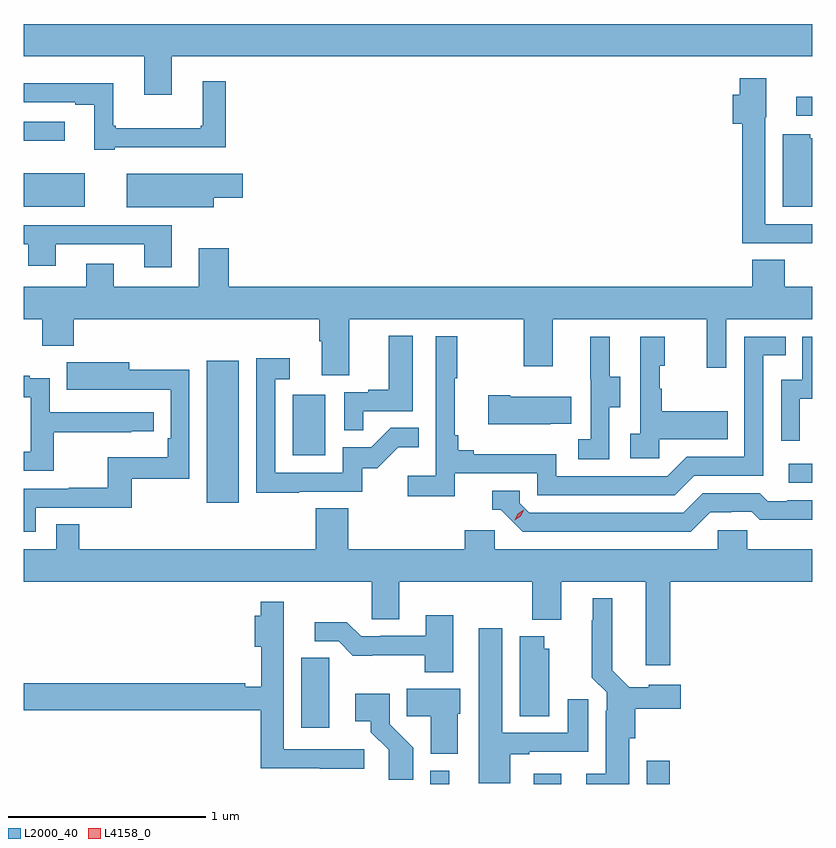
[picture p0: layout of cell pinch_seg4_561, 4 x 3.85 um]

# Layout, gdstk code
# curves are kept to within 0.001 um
import gdstk
lib = gdstk.Library(unit=1e-6, precision=1e-09)
def R(c, l, rs):  # rectangles x0, y0, x1, y1
    for r in rs: c.add(gdstk.rectangle(r[:2], r[2:], *l))
def P(c, l, *ps):  # polygons
    for p in ps: c.add(gdstk.Polygon(p, *l))
L2000_40 = (2000, 40)
L4158_0 = (4158, 0)

pinch_seg4_561 = lib.new_cell('pinch_seg4_561')
R(pinch_seg4_561, L2000_40, [(1108.407,782.474,1108.504,782.542), (1108.931,782.474,1109.071,782.527), (1109.505,782.474,1109.621,782.593), (1107.275,783.9,1107.436,784.621), (1110.225,784.002,1110.345,784.098), (1107.71,784.14,1107.874,784.447), (1106.345,785.402,1106.656,785.572), (1106.345,785.735,1106.554,785.832), (1110.264,785.862,1110.345,785.959)])
P(pinch_seg4_561, L2000_40, [(1107.097,786.164),(1110.345,786.164),(1110.345,786.328),(1106.345,786.328),(1106.345,786.164),(1106.957,786.164),(1106.957,785.97),(1107.097,785.97)],
  [(1110.345,785.313),(1110.105,785.313),(1110.105,785.856),(1110.112,785.856),(1110.112,786.052),(1109.976,786.052),(1109.976,785.97),(1109.942,785.97),(1109.942,785.822),(1109.989,785.822),(1109.989,785.217),(1110.289,785.217),(1110.289,785.215),(1110.345,785.215)],
  [(1106.806,785.702),(1107.371,785.702),(1107.371,786.037),(1107.254,786.037),(1107.254,785.812),(1107.243,785.812),(1107.243,785.8),(1106.812,785.8),(1106.812,785.812),(1106.8,785.812),(1106.8,786.028),(1106.345,786.028),(1106.345,785.931),(1106.606,785.931),(1106.606,785.919),(1106.702,785.919),(1106.702,785.691),(1106.806,785.691)],
  [(1110.345,785.748),(1110.333,785.748),(1110.333,785.769),(1110.194,785.769),(1110.194,785.4),(1110.345,785.4)],
  [(1107.31,785.447),(1107.457,785.447),(1107.457,785.569),(1106.867,785.569),(1106.867,785.399),(1107.31,785.399)],
  [(1107.097,785.307),(1106.345,785.307),(1106.345,785.211),(1106.369,785.211),(1106.369,785.102),(1106.509,785.102),(1106.509,785.211),(1106.957,785.211),(1106.957,785.094),(1107.097,785.094)],
  [(1107.997,784.832),(1108.882,784.832),(1108.882,784.593),(1109.029,784.593),(1109.029,784.832),(1109.81,784.832),(1109.81,784.584),(1109.907,784.584),(1109.907,784.832),(1110.345,784.832),(1110.345,784.996),(1110.206,784.996),(1110.206,785.132),(1110.041,785.132),(1110.041,784.996),(1107.386,784.996),(1107.386,785.191),(1107.233,785.191),(1107.233,784.996),(1106.803,784.996),(1106.803,785.113),(1106.663,785.113),(1106.663,784.996),(1106.345,784.996),(1106.345,784.832),(1106.44,784.832),(1106.44,784.697),(1106.6,784.697),(1106.6,784.832),(1107.845,784.832),(1107.845,784.72),(1107.857,784.72),(1107.857,784.546),(1107.997,784.546)],
  [(1108.067,784.365),(1108.318,784.365),(1108.318,784.747),(1108.196,784.747),(1108.196,784.474),(1108.093,784.474),(1108.093,784.461),(1107.972,784.461),(1107.972,784.267),(1108.067,784.267)],
  [(1108.532,784.05),(1108.95,784.05),(1108.95,783.939),(1109.647,783.939),(1109.746,784.038),(1110.096,784.038),(1110.096,784.647),(1110.209,784.647),(1110.209,784.743),(1110,784.743),(1110,784.134),(1109.709,784.134),(1109.61,784.035),(1109.046,784.035),(1109.046,784.147),(1108.627,784.147),(1108.627,784.166),(1108.55,784.166),(1108.55,784.243),(1108.531,784.243),(1108.531,784.531),(1108.543,784.531),(1108.543,784.744),(1108.434,784.744),(1108.434,784.036),(1108.293,784.036),(1108.293,783.934),(1108.532,783.934)],
  [(1110.282,784.427),(1110.345,784.427),(1110.345,784.743),(1110.294,784.743),(1110.294,784.524),(1110.186,784.524),(1110.186,784.215),(1110.282,784.215)],
  [(1109.316,784.384),(1109.371,784.384),(1109.371,784.539),(1109.317,784.539),(1109.317,784.741),(1109.219,784.741),(1109.219,784.527),(1109.22,784.527),(1109.22,784.223),(1109.157,784.223),(1109.157,784.12),(1109.316,784.12)],
  [(1109.568,784.223),(1109.915,784.223),(1109.915,784.363),(1109.581,784.363),(1109.581,784.478),(1109.571,784.478),(1109.571,784.596),(1109.596,784.596),(1109.596,784.741),(1109.472,784.741),(1109.472,784.25),(1109.421,784.25),(1109.421,784.125),(1109.568,784.125)],
  [(1107.743,783.957),(1108.062,783.957),(1108.062,784.074),(1108.138,784.074),(1108.245,784.181),(1108.349,784.181),(1108.349,784.28),(1108.206,784.28),(1108.108,784.182),(1107.963,784.182),(1107.963,784.053),(1107.621,784.053),(1107.621,784.527),(1107.694,784.527),(1107.694,784.633),(1107.525,784.633),(1107.525,783.952),(1107.743,783.952)],
  [(1106.406,783.876),(1106.893,783.876),(1106.893,784.023),(1107.186,784.023),(1107.186,784.574),(1106.881,784.574),(1106.881,784.612),(1106.563,784.612),(1106.563,784.472),(1106.777,784.472),(1106.777,784.473),(1107.09,784.473),(1107.09,784.228),(1107.077,784.228),(1107.077,784.132),(1106.772,784.132),(1106.772,783.977),(1106.575,783.977),(1106.575,783.972),(1106.345,783.972),(1106.345,783.753),(1106.406,783.753)],
  [(1106.498,784.258),(1106.891,784.258),(1106.891,784.263),(1107.004,784.263),(1107.004,784.359),(1106.478,784.359),(1106.478,784.531),(1106.375,784.531),(1106.375,784.543),(1106.345,784.543),(1106.345,784.434),(1106.382,784.434),(1106.382,784.158),(1106.345,784.158),(1106.345,784.062),(1106.498,784.062)],
  [(1109.015,784.301),(1109.123,784.301),(1109.123,784.438),(1108.813,784.438),(1108.813,784.446),(1108.701,784.446),(1108.701,784.298),(1109.015,784.298)],
  [(1109.827,783.852),(1109.934,783.852),(1109.934,783.855),(1110.037,783.855),(1110.079,783.813),(1110.312,783.813),(1110.312,783.815),(1110.345,783.815),(1110.345,783.912),(1110.217,783.912),(1110.217,783.909),(1110.118,783.909),(1110.079,783.948),(1109.79,783.948),(1109.691,783.849),(1108.908,783.849),(1108.86,783.897),(1108.86,783.96),(1108.721,783.96),(1108.721,783.864),(1108.764,783.864),(1108.875,783.753),(1109.728,783.753)],
  [(1109.624,783.5),(1110.345,783.5),(1110.345,783.664),(1110.015,783.664),(1110.015,783.762),(1109.865,783.762),(1109.865,783.664),(1108.734,783.664),(1108.734,783.762),(1108.583,783.762),(1108.583,783.664),(1107.992,783.664),(1107.992,783.872),(1107.827,783.872),(1107.827,783.664),(1106.627,783.664),(1106.627,783.791),(1106.511,783.791),(1106.511,783.664),(1106.345,783.664),(1106.345,783.5),(1108.11,783.5),(1108.11,783.31),(1108.249,783.31),(1108.249,783.5),(1108.924,783.5),(1108.924,783.308),(1109.071,783.308),(1109.071,783.5),(1109.501,783.5),(1109.501,783.075),(1109.624,783.075)],
  [(1109.416,782.706),(1109.447,782.706),(1109.447,782.855),(1109.677,782.855),(1109.677,782.977),(1109.514,782.977),(1109.514,782.965),(1109.415,782.965),(1109.329,783.052),(1109.329,783.415),(1109.231,783.415),(1109.231,783.305),(1109.227,783.305),(1109.227,783.014),(1109.301,782.94),(1109.301,782.846),(1109.297,782.846),(1109.297,782.527),(1109.199,782.527),(1109.199,782.474),(1109.416,782.474)],
  [(1108.072,782.649),(1107.663,782.649),(1107.663,783.174),(1107.664,783.174),(1107.664,783.397),(1107.547,783.397),(1107.547,783.328),(1107.518,783.328),(1107.518,783.17),(1107.551,783.17),(1107.551,782.966),(1107.47,782.966),(1107.47,782.984),(1106.345,782.984),(1106.345,782.848),(1107.547,782.848),(1107.547,782.553),(1107.847,782.553),(1107.847,782.551),(1108.072,782.551)],
  [(1108.525,783.331),(1108.385,783.331),(1108.385,783.225),(1108.156,783.225),(1108.156,783.222),(1108.056,783.222),(1107.983,783.295),(1107.822,783.295),(1107.822,783.198),(1107.942,783.198),(1108.015,783.125),(1108.378,783.126),(1108.378,783.041),(1108.525,783.041)],
  [(1108.813,782.625),(1108.909,782.625),(1108.909,782.637),(1109.209,782.637),(1109.209,782.905),(1109.105,782.905),(1109.105,782.733),(1108.771,782.733),(1108.771,783.265),(1108.652,783.265),(1108.652,782.478),(1108.813,782.478)],
  [(1109.011,783.159),(1108.984,783.159),(1108.984,783.223),(1108.862,783.223),(1108.862,782.818),(1109.011,782.818)],
  [(1107.895,783.002),(1107.894,783.002),(1107.894,783.113),(1107.752,783.113),(1107.752,782.76),(1107.895,782.76)],
  [(1108.546,782.829),(1108.558,782.829),(1108.558,782.956),(1108.288,782.956),(1108.288,782.818),(1108.409,782.818),(1108.409,782.627),(1108.546,782.627)],
  [(1108.322,782.658),(1108.203,782.777),(1108.203,782.932),(1108.026,782.932),(1108.026,782.792),(1108.106,782.792),(1108.106,782.737),(1108.197,782.647),(1108.197,782.496),(1108.322,782.496)])
P(pinch_seg4_561, L4158_0, [(1108.836,783.812),(1108.836,783.812),(1108.852,783.845),(1108.882,783.865),(1108.882,783.865),(1108.882,783.865),(1108.867,783.832),(1108.836,783.812)])

lib.write_gds('pinch_seg4_561.gds')
